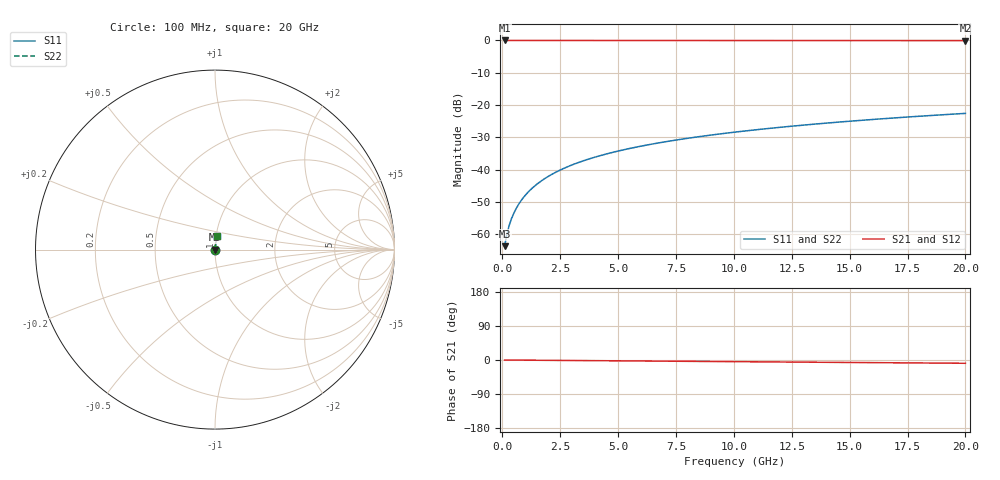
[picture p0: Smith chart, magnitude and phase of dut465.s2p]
! Touchstone file exported from HFSS 2026.1.0
!  File:  C:/ffzhzh/LocalFiles/Ansys_Project_Files/temp_train_TMRDL_465_1783006069_51716.aedt
!  Generated:  11:29:23 PM Jul  2, 2026
!  Design:  TMRDL
!  Project:  temp_train_TMRDL_465_1783006069_51716
! Variables:
!  h_bsmrdl = 2um
!  h_ox = 20um
!  h_rdl = 5um
!  h_sub = 80um
!  h_tmrdl = 4.75um
!  h_tsv = 80um
!  h_via = 3um
!  l_bsmrdl = 300um
!  l_sub = 503.63um
!  l_tmrdl = 103.63um
!  m_sub = 200um
!  pitch = 44.68um
!  r_tsv = 6um
!  s_tmrdl = 10um
!  w_bsmrdl = 18um
!  w_sub = 500um
!  w_tmrdl = 24.87um
!  x_tsv_center1 = 116.065um
!  x_tsv_center2 = 434.065um
!  x_tsv_center3 = 562.565um
!  x_tsv_center4 = 880.565um
!  x_tsv_center5 = 1009.065um
!  x_tsv_center6 = 1327.065um
# GHz S MA R 50.000000
! Terminal data exported
! Port[1] = TM_RDL1_1_T1
! Port[2] = TM_RDL1_1_T2
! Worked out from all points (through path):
!   200 points, 100 MHz to 20 GHz, reference 50 ohm
!   highest |S21| = 0.00 dB at 100 MHz (marker M1); lowest = 0.0 dB at 20 GHz (marker M2)
!   group delay of S21, straight-line fit = 1.2 ps
!   lowest |S11| = -63.6 dB at 100 MHz (marker M3), VSWR 1.00, Z = 50 + j0.0446 ohm
!   |S11| at or under -10 dB: start of sweep to end of sweep
!   |S22| runs from -63.6 to -22.6 dB; largest |S21 - S12| = 2e-15
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0.1  0.0006599 42.4  0.9995 -0.0  0.9995 -0.0  0.0006599 42.4
! Gamma 0 0 0 0
! Port Impedance 50 0 50 0
0.2  0.001014 59.0  0.9995 -0.1  0.9995 -0.1  0.001014 59.0
0.3  0.001389 66.4  0.9994 -0.1  0.9994 -0.1  0.001389 66.4
0.4  0.001766 70.7  0.9994 -0.2  0.9994 -0.2  0.001766 70.7
0.5  0.002144 73.6  0.9994 -0.2  0.9994 -0.2  0.002144 73.6
0.6  0.002525 75.7  0.9994 -0.3  0.9994 -0.3  0.002525 75.7
0.8  0.003293 78.5  0.9994 -0.4  0.9994 -0.4  0.003293 78.5
1.1  0.004456 80.9  0.9993 -0.5  0.9993 -0.5  0.004456 80.9
1.3  0.005235 81.9  0.9993 -0.6  0.9993 -0.6  0.005235 81.9
1.6  0.006407 82.9  0.9993 -0.7  0.9993 -0.7  0.006407 82.9
2.1  0.008359 83.8  0.9992 -0.9  0.9992 -0.9  0.008359 83.8
2.7  0.01069 84.2  0.9991 -1.2  0.9991 -1.2  0.01069 84.2
3.5  0.01378 84.4  0.9989 -1.6  0.9989 -1.6  0.01378 84.4
4.2  0.01646 84.3  0.9988 -1.9  0.9988 -1.9  0.01646 84.3
5  0.01949 84.2  0.9986 -2.2  0.9986 -2.2  0.01949 84.2
5.9  0.02288 84.0  0.9984 -2.6  0.9984 -2.6  0.02288 84.0
6.8  0.02624 83.8  0.9982 -3.0  0.9982 -3.0  0.02624 83.8
8.3  0.03181 83.4  0.9978 -3.6  0.9978 -3.6  0.03181 83.3
10.1  0.03846 82.8  0.9974 -4.4  0.9974 -4.4  0.03846 82.8
13.4  0.05056 81.7  0.9966 -5.8  0.9966 -5.8  0.05056 81.7
16.7  0.06259 80.5  0.9956 -7.2  0.9956 -7.2  0.06259 80.5
20  0.07452 79.3  0.9945 -8.6  0.9945 -8.6  0.07452 79.3
